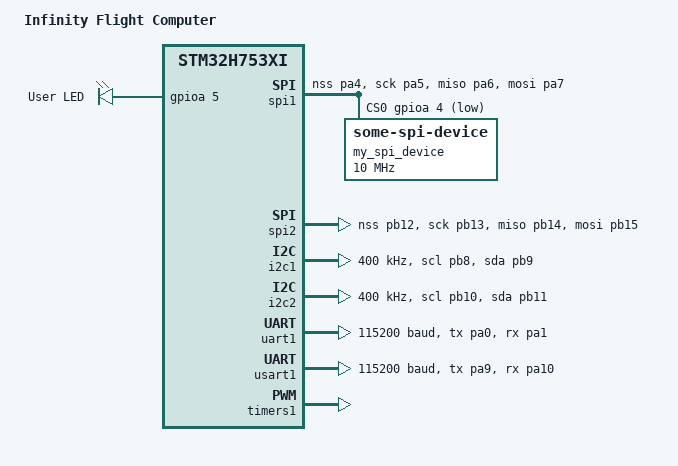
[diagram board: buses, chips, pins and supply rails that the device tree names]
/dts-v1/;

/* Inclusione del file base del microcontrollore STM32H753ZI */
#include <st/h7/stm32h753Xi.dtsi>

/* Inclusione degli header per le macro utili */
#include <dt-bindings/pinctrl/stm32-pinctrl.h>
#include <dt-bindings/clock/stm32h7_clock.h>
#include <dt-bindings/gpio/gpio.h>

/ {
    model = "Infinity Flight Computer";
    compatible = "infinity-autopilot,flight-controller";

    /* 1. Definizione degli Oscillatori Esterni (HSE e LSE) */
    clocks {
        /* Oscillatore ad alta velocità (HSE) a 25 MHz */
        clk_hse: clk-hse {
            #clock-cells = <0>;
            compatible = "fixed-clock";
            clock-frequency = <25000000>; /* 25 MHz */
            status = "okay";
        };

        /* Oscillatore a bassa velocità (LSE) per l'RTC a 32.768 kHz */
        clk_lse: clk-lse {
            #clock-cells = <0>;
            compatible = "fixed-clock";
            clock-frequency = <32768>;
            status = "okay";
        };
    };

    /* (Opzionale) Nodo per alias, utile per riferimenti veloci nel codice */
    aliases {
        led0 = &green_led;
    };

    /* Definizione di LED o altri componenti custom sulla scheda */
    leds {
        compatible = "gpio-leds";
        green_led: led_0 {
            gpios = <&gpioa 5 GPIO_ACTIVE_HIGH>;
            label = "User LED";
        };
    };

    /* Lo spazio `chosen` permette di selezionare la console di debug */
    chosen {
        zephyr,console = &usart1; /* Usa USART1 per output di log */
        zephyr,shell-uart = &usart1;
        zephyr,sram = &sram0;
        zephyr,flash = &flash0;
    };
};

/* 2. Configurazione del Clock Tree */
&rcc {
    clocks = <&pll>; /* Il PLL è la sorgente di clock del sistema */
    clock-frequency = <DT_FREQ_M(480)>; /* Frequenza massima del core a 480 MHz */

    /* Prescaler per i vari domini di clock (configurazione standard) */
    d1cpre = <1>;  /* Prescaler per il dominio D1 (CPU core) */
    hpre = <2>;    /* Prescaler per il bus AHB (HCLK = SYSCLK / 2 = 240 MHz) */
    d1ppre = <2>;  /* Prescaler per APB3 (PCLK3) */
    d2ppre1 = <2>; /* Prescaler per APB1 */
    d2ppre2 = <2>; /* Prescaler per APB2 */
    d3ppre = <2>;  /* Prescaler per APB4 */

    /* Attivazione degli oscillatori esterni */
    pll: pll {
        compatible = "st,stm32h7-pll-clock";
        status = "okay";

        /* Sorgente del PLL: l'oscillatore HSE */
        clocks = <&clk_hse>;

        /* Configurazione per ottenere 480 MHz da un HSE a 25 MHz */
        /* (I valori possono variare in base alla configurazione esatta) */
        div-m = <5>;      /* M = 5 */
        mul-n = <192>;    /* N = 192 */
        div-p = <2>;      /* P = 2 */
        div-q = <20>;     /* Q = 20 */
        div-r = <2>;      /* R = 2 */
    };
};

/* 3. Attivazione e Configurazione delle Periferiche */

/* --- SPI1 (PA4=NSS, PA5=SCK, PA6=MISO, PA7=MOSI) --- */
&spi1 {
    pinctrl-0 = <&spi1_nss_pa4 &spi1_sck_pa5 &spi1_miso_pa6 &spi1_mosi_pa7>;
    pinctrl-names = "default";
    cs-gpios = <&gpioa 4 GPIO_ACTIVE_LOW>; /* NSS manuale via GPIO */
    status = "okay";

    /* Esempio di dispositivo SPI connesso */
    my_spi_device: device@0 {
        compatible = "some-spi-device";
        reg = <0>;
        spi-max-frequency = <10000000>;
    };
};

/* --- SPI2 (PB12=NSS, PB13=SCK, PB14=MISO, PB15=MOSI) --- */
&spi2 {
    pinctrl-0 = <&spi2_nss_pb12 &spi2_sck_pb13 &spi2_miso_pb14 &spi2_mosi_pb15>;
    pinctrl-names = "default";
    cs-gpios = <&gpiob 12 GPIO_ACTIVE_LOW>; /* NSS manuale */
    status = "okay";
};

/* --- I2C1 (PB8=SCL, PB9=SDA) --- */
&i2c1 {
    pinctrl-0 = <&i2c1_scl_pb8 &i2c1_sda_pb9>;
    pinctrl-names = "default";
    status = "okay";
    clock-frequency = <I2C_BITRATE_FAST>; /* 400 kHz */
};

/* --- I2C2 (PB10=SCL, PB11=SDA) --- */
&i2c2 {
    pinctrl-0 = <&i2c2_scl_pb10 &i2c2_sda_pb11>;
    pinctrl-names = "default";
    status = "okay";
    clock-frequency = <I2C_BITRATE_FAST>;
};

/* --- UART1 (PA0=TX, PA1=RX) --- */
&uart1 {
    pinctrl-0 = <&uart1_tx_pa0 &uart1_rx_pa1>;
    pinctrl-names = "default";
    status = "okay";
    current-speed = <115200>;
};

/* --- USART1 (PA9=TX, PA10=RX) --- */
&usart1 {
    pinctrl-0 = <&usart1_tx_pa9 &usart1_rx_pa10>;
    pinctrl-names = "default";
    status = "okay";
    current-speed = <115200>;
};

/* --- TIM1 per PWM (PA8=CH1, PA9=CH2, PA10=CH3, PA11=CH4) --- */
&timers1 {
    status = "okay";
    pwm: pwm {
        pinctrl-0 = <&tim1_ch1_pwm_pa8 &tim1_ch2_pwm_pa9 &tim1_ch3_pwm_pa10 &tim1_ch4_pwm_pa11>;
        pinctrl-names = "default";
        status = "okay";
        st,prescaler = <10000>; /* Esempio: regola per la frequenza PWM desiderata */
    };
};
